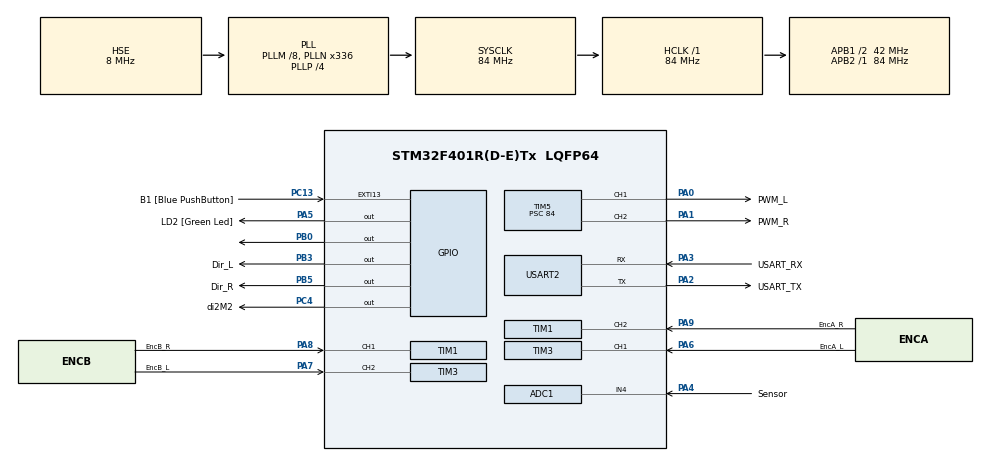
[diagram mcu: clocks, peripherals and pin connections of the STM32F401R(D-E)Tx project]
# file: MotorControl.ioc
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ADC1.Channel-0\#ChannelRegularConversion=ADC_CHANNEL_4
ADC1.ContinuousConvMode=ENABLE
ADC1.NbrOfConversionFlag=1
ADC1.Rank-0\#ChannelRegularConversion=1
ADC1.SamplingTime-0\#ChannelRegularConversion=ADC_SAMPLETIME_480CYCLES
ADC1.master=1
Dma.Request0=USART2_RX
Dma.Request1=USART2_TX
Dma.USART2_RX.0.Direction=DMA_PERIPH_TO_MEMORY
Dma.USART2_RX.0.FIFOMode=DMA_FIFOMODE_DISABLE
Dma.USART2_RX.0.Instance=DMA1_Stream5
Dma.USART2_RX.0.MemDataAlignment=DMA_MDATAALIGN_BYTE
Dma.USART2_RX.0.MemInc=DMA_MINC_ENABLE
Dma.USART2_RX.0.Mode=DMA_CIRCULAR
Dma.USART2_RX.0.PeriphDataAlignment=DMA_PDATAALIGN_BYTE
Dma.USART2_RX.0.PeriphInc=DMA_PINC_DISABLE
Dma.USART2_RX.0.Priority=DMA_PRIORITY_VERY_HIGH
Dma.USART2_TX.1.Direction=DMA_MEMORY_TO_PERIPH
Dma.USART2_TX.1.FIFOMode=DMA_FIFOMODE_DISABLE
Dma.USART2_TX.1.Instance=DMA1_Stream6
Dma.USART2_TX.1.MemDataAlignment=DMA_MDATAALIGN_BYTE
Dma.USART2_TX.1.MemInc=DMA_MINC_ENABLE
Dma.USART2_TX.1.Mode=DMA_NORMAL
Dma.USART2_TX.1.PeriphDataAlignment=DMA_PDATAALIGN_BYTE
Dma.USART2_TX.1.PeriphInc=DMA_PINC_DISABLE
Dma.USART2_TX.1.Priority=DMA_PRIORITY_VERY_HIGH
FREERTOS.Tasks01=defaultTask,24,3000,StartDefaultTask,Default,NULL,Static,defaultTaskBuffer,defaultTaskControlBlock
FREERTOS.configUSE_NEWLIB_REENTRANT=1
Mcu.Family=STM32F4
Mcu.Name=STM32F401R(D-E)Tx
Mcu.Package=LQFP64
NVIC.ADC_IRQn=true\:5\:0\:false\:false\:true\:true\:true\:true\:true
NVIC.DMA1_Stream5_IRQn=true\:5\:0\:false\:false\:true\:true\:false\:true\:true
NVIC.DMA1_Stream6_IRQn=true\:5\:0\:false\:false\:true\:true\:false\:true\:true
NVIC.PriorityGroup=NVIC_PRIORITYGROUP_4
NVIC.TIM1_BRK_TIM9_IRQn=true\:5\:0\:false\:false\:true\:true\:true\:true\:true
NVIC.TIM1_TRG_COM_TIM11_IRQn=true\:5\:0\:false\:false\:true\:true\:true\:true\:true
NVIC.TIM1_UP_TIM10_IRQn=true\:5\:0\:false\:false\:true\:true\:true\:true\:true
NVIC.TIM2_IRQn=true\:15\:0\:false\:false\:true\:false\:true\:true\:true
NVIC.TIM3_IRQn=true\:5\:0\:false\:false\:true\:true\:true\:true\:true
NVIC.TIM4_IRQn=true\:5\:0\:false\:false\:true\:true\:true\:true\:true
NVIC.TimeBase=TIM2_IRQn
NVIC.TimeBaseIP=TIM2
NVIC.USART2_IRQn=true\:5\:0\:false\:false\:true\:true\:true\:true\:true
PA0-WKUP.GPIO_Label=PWM_L
PA0-WKUP.Signal=S_TIM5_CH1
PA1.GPIO_Label=PWM_R
PA1.Signal=S_TIM5_CH2
PA13.GPIO_Label=TMS
PA13.Mode=Serial_Wire
PA13.Signal=SYS_JTMS-SWDIO
PA14.GPIO_Label=TCK
PA14.Mode=Serial_Wire
PA14.Signal=SYS_JTCK-SWCLK
PA2.GPIO_Label=USART_TX
PA2.GPIO_Mode=GPIO_MODE_AF_PP
PA2.GPIO_PuPd=GPIO_NOPULL
PA2.GPIO_Speed=GPIO_SPEED_FREQ_LOW
PA2.Mode=Asynchronous
PA2.Signal=USART2_TX
PA3.GPIO_Label=USART_RX
PA3.GPIO_Mode=GPIO_MODE_AF_PP
PA3.GPIO_PuPd=GPIO_NOPULL
PA3.GPIO_Speed=GPIO_SPEED_FREQ_LOW
PA3.Mode=Asynchronous
PA3.Signal=USART2_RX
PA4.GPIO_Label=Sensor
PA4.Signal=ADCx_IN4
PA5.GPIO_Label=LD2 [Green Led]
PA5.GPIO_PuPd=GPIO_NOPULL
PA5.GPIO_Speed=GPIO_SPEED_FREQ_LOW
PA5.Signal=GPIO_Output
PA6.GPIO_Label=EncA_L
PA6.Signal=S_TIM3_CH1
PA7.GPIO_Label=EncB_L
PA7.Signal=S_TIM3_CH2
PA8.GPIO_Label=EncB_R
PA8.Signal=S_TIM1_CH1
PA9.GPIO_Label=EncA_R
PA9.Signal=S_TIM1_CH2
PB0.Signal=GPIO_Output
PB3.GPIO_Label=Dir_L
PB3.Signal=GPIO_Output
PB5.GPIO_Label=Dir_R
PB5.Signal=GPIO_Output
PC13-ANTI_TAMP.GPIO_Label=B1 [Blue PushButton]
PC13-ANTI_TAMP.GPIO_ModeDefaultEXTI=GPIO_MODE_IT_FALLING
PC13-ANTI_TAMP.GPIO_PuPd=GPIO_NOPULL
PC13-ANTI_TAMP.Signal=GPXTI13
PC14-OSC32_IN.Signal=RCC_OSC32_IN
PC15-OSC32_OUT.Signal=RCC_OSC32_OUT
PC4.GPIO_Label=di2M2
PC4.Signal=GPIO_Output
PH0\ -\ OSC_IN.Mode=HSE-External-Oscillator
PH0\ -\ OSC_IN.Signal=RCC_OSC_IN
PH1\ -\ OSC_OUT.Mode=HSE-External-Oscillator
PH1\ -\ OSC_OUT.Signal=RCC_OSC_OUT
ProjectManager.HeapSize=0x200
ProjectManager.StackSize=0x400
ProjectManager.TargetToolchain=STM32CubeIDE
RCC.48MHZClocksFreq_Value=48000000
RCC.AHBFreq_Value=84000000
RCC.APB1CLKDivider=RCC_HCLK_DIV2
RCC.APB1Freq_Value=42000000
RCC.APB1TimFreq_Value=84000000
RCC.APB2Freq_Value=84000000
RCC.APB2TimFreq_Value=84000000
RCC.CortexFreq_Value=84000000
RCC.HCLKFreq_Value=84000000
RCC.HSE_VALUE=8000000
RCC.HSI_VALUE=16000000
RCC.LSE_VALUE=32768
RCC.PLLM=8
RCC.PLLN=336
RCC.PLLP=RCC_PLLP_DIV4
RCC.PLLQ=7
RCC.PLLSourceVirtual=RCC_PLLSOURCE_HSE
RCC.SYSCLKFreq_VALUE=84000000
RCC.SYSCLKSource=RCC_SYSCLKSOURCE_PLLCLK
RCC.VCOOutputFreq_Value=336000000
SH.ADCx_IN4.0=ADC1_IN4,IN4
SH.S_TIM1_CH1.0=TIM1_CH1,Encoder_Interface
SH.S_TIM1_CH2.0=TIM1_CH2,Encoder_Interface
SH.S_TIM3_CH1.0=TIM3_CH1,Encoder_Interface
SH.S_TIM3_CH2.0=TIM3_CH2,Encoder_Interface
SH.S_TIM5_CH1.0=TIM5_CH1,PWM Generation1 CH1
SH.S_TIM5_CH2.0=TIM5_CH2,PWM Generation2 CH2
TIM1.AutoReloadPreload=TIM_AUTORELOAD_PRELOAD_ENABLE
TIM1.EncoderMode=TIM_ENCODERMODE_TI12
TIM1.IC1Filter=10
TIM1.IC2Filter=10
TIM3.AutoReloadPreload=TIM_AUTORELOAD_PRELOAD_ENABLE
TIM3.EncoderMode=TIM_ENCODERMODE_TI12
TIM3.IC1Filter=10
TIM3.IC2Filter=10
TIM4.Period=100
TIM4.Prescaler=84
TIM5.AutoReloadPreload=TIM_AUTORELOAD_PRELOAD_ENABLE
TIM5.Channel-PWM\ Generation1\ CH1=TIM_CHANNEL_1
TIM5.Channel-PWM\ Generation2\ CH2=TIM_CHANNEL_2
TIM5.Period=100
TIM5.Prescaler=84
USART2.VirtualMode=VM_ASYNC
VP_FREERTOS_VS_CMSIS_V2.Mode=CMSIS_V2
VP_SYS_VS_tim2.Mode=TIM2
VP_TIM4_VS_ClockSourceINT.Mode=Internal
board=NUCLEO-F401RE

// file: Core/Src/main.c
/* USER CODE BEGIN Header */
/**
 ******************************************************************************
 * @file           : main.c
 * @brief          : Main program body
 ******************************************************************************
 * @attention
 *
 * Copyright (c) 2024 STMicroelectronics.
 * All rights reserved.
 *
 * This software is licensed under terms that can be found in the LICENSE file
 * in the root directory of this software component.
 * If no LICENSE file comes with this software, it is provided AS-IS.
 *
 ******************************************************************************
 */
/* USER CODE END Header */

/* USER CODE BEGIN Includes */
#include <motorControl.h>
#include "flowControl.h"
#include "main.h"
#include "MPC.h"
#include <string.h>
#include "stdlib.h"
#include "cmsis_os.h"
#include <rcl/rcl.h>
#include <rcl/error_handling.h>
#include <rclc/rclc.h>
#include <rclc/executor.h>
#include <uxr/client/transport.h>
#include <rmw_microxrcedds_c/config.h>
#include <rmw_microros/rmw_microros.h>
#include <std_msgs/msg/int32.h>
#include <std_msgs/msg/float32.h>
#include <std_msgs/msg/float64.h>
#include <std_msgs/msg/string.h>

#include <frame_data/msg/frame_data.h>

/* USER CODE END Includes */

typedef StaticTask_t osStaticThreadDef_t;

/* USER CODE BEGIN PD */
#define Mode_Position 1
#define Mode_Velocity 2
#define Mode_SensorPosition 3
#define Mode_SensorVelocity 4
#define Mode_MPC 5
#define Mode_Stop 6
#define Mode_Verbose 7
/* USER CODE END PD */

ADC_HandleTypeDef hadc1;

TIM_HandleTypeDef htim1;
TIM_HandleTypeDef htim3;
TIM_HandleTypeDef htim4;
TIM_HandleTypeDef htim5;

UART_HandleTypeDef huart2;
DMA_HandleTypeDef hdma_usart2_rx;
DMA_HandleTypeDef hdma_usart2_tx;

/* Definitions for defaultTask */
osThreadId_t defaultTaskHandle;
uint32_t defaultTaskBuffer[ 3000 ];
osStaticThreadDef_t defaultTaskControlBlock;
const osThreadAttr_t defaultTask_attributes = {
		.name = "defaultTask",
		.cb_mem = &defaultTaskControlBlock,
		.cb_size = sizeof(defaultTaskControlBlock),
		.stack_mem = &defaultTaskBuffer[0],
		.stack_size = sizeof(defaultTaskBuffer),
		.priority = (osPriority_t) osPriorityNormal,
};
/* USER CODE BEGIN PV */
int16_t pos_R=0;int16_t pos_L=0;
float pos_Rp=0;float pos_Lp=0;
float pos_Rc=0;float pos_Lc=0;
float vel_R=0;float vel_L=0;
uint16_t resolucion=3600*2;
uint8_t ready;
char res_string[50];
uint8_t data[9]="";
uint8_t Pdata[200]="aaaaaaaa";
uint8_t newdata=1;
struct mode mode;
struct controlSignals controlS;
struct controlData SpeedControlMotor1;
struct controlData SpeedControlMotor2;
struct controlData PosControlMotor1;
struct controlData PosControlMotor2;

struct MPCData myControl;

//////// Declaración de variables del sensor óptico //////////
uint16_t  	valor_DR=0;
float 		dist = 0.0;
float dist_act=0.0;
float 		alfa = 0.2; // Filtro EMA
#define  d1 4
#define  d2 50
#define  v1 2.2
#define  v2 0.55
#define  escala 8.059e-4 //3.3/1023
#define  dist_min 11.32
#define  dist_max 22.5
#define  vel_min 0.0
#define  vel_max 100.0
float pos_actual = 0.0;
float contador=0.0;
/* USER CODE END PV */

void SystemClock_Config(void);
static void MX_GPIO_Init(void);
static void MX_DMA_Init(void);
static void MX_USART2_UART_Init(void);
static void MX_TIM1_Init(void);
static void MX_TIM3_Init(void);
static void MX_TIM5_Init(void);
static void MX_ADC1_Init(void);
static void MX_TIM4_Init(void);
void StartDefaultTask(void *argument);

/* USER CODE BEGIN 0 */
void HAL_TIM_PeriodElapsedCallback(TIM_HandleTypeDef *htim)
{
	if (htim->Instance == TIM4)
	{ // REVISAR CLOCKS CON PEDRO
		pos_R=__HAL_TIM_GET_COUNTER(&htim1);
		pos_L=__HAL_TIM_GET_COUNTER(&htim3);

		ready=1; //Ocurre cada 10ms
		pos_Rp=pos_Rc;
		pos_Lp=pos_Lc;
		pos_Rc=pos_R*360.0/resolucion+pos_Rc;
		pos_Lc=pos_L*360.0/resolucion+pos_Lc;

		vel_R=fabs(pos_Rc-pos_Rp)/(360.0)*100.0*60.0;
		vel_L=fabs(pos_Lc-pos_Lp)/(360.0)*100.0*60.0;

		TIM3->CNT=0;
		TIM1->CNT=0;
		contador = contador+1.0;
	}
	if (htim->Instance == TIM2) {
		HAL_IncTick();
	}

	//HAL_GPIO_TogglePin(GPIOA, GPIO_PIN_5);
}
void HAL_UART_RxCpltCallback(UART_HandleTypeDef *huart)
{
	printData(data,&mode, &controlS);
	HAL_UART_Transmit_DMA(&huart2, mode.res_string, sizeof(res_string));
	newdata=1;

}

void HAL_ADC_ConvCpltCallback(ADC_HandleTypeDef* hadc)
{
	//__NOP();
	HAL_ADC_Start_IT(&hadc1);
}

//Variable global y callback suscriber
int32_t valueFramePos = 0;
int32_t valueMax2 = 0;
const char *r;
char valueControl [15];
const std_msgs__msg__String *msg4;

void subscription_callback_PosRef(const void * msgin)
{
	// Cast received message to used type
	// const std_msgs__msg__Int32 * msg3 = (const std_msgs__msg__Int32 *)msgin;
	const std_msgs__msg__Float32 * msg3 = (const std_msgs__msg__Float32 *)msgin;
	// Process message
	//pos_Rc=40;
	valueFramePos = msg3->data;

	// valueMax=valueMax+100;
	return;
}
void subscription_callback_SpeedRef(const void * msgin)
{
	// Cast received message to used type
	const std_msgs__msg__Float32 * msg5 = (const std_msgs__msg__Float32 *)msgin;
	// Process message
	//vel_R=30;
	valueMax2 = msg5->data;
	//valueMax2=valueMax2+100-1;
	return;
}
void subscription_callback_ControlMode(const void * msgin)
{
	//	msg4 = (const std_msgs__msg__String *)msgin;
	//get_message_typesupport_handle(msg4, r);
	//	strcpy(valueControl,msg4->data.data);
	// Se puede probar también memcpy()
	// según chatgpt: const std_msgs__msg__String * received_msg = (const std_msgs__msg__String *)msgin;

	return;
}

/* USER CODE END 0 */

int main(void)
{

	/* USER CODE BEGIN 1 */
	float dy=(v2-v1); //0.55-2.2
	float dx=(d2-d1); //50-4
	float m =dy/dx;// -(dist_max-dist_min)/(raw_min-raw_max);
	float n = 2-m*10;
	float dist_dif = dist_max-dist_min;
	/* USER CODE END 1 */

	/* MCU Configuration--------------------------------------------------------*/

	/* Reset of all peripherals, Initializes the Flash interface and the Systick. */
	HAL_Init();

	/* Configure the system clock */
	SystemClock_Config();

	/* Initialize all configured peripherals */
	MX_GPIO_Init();
	MX_DMA_Init();
	MX_USART2_UART_Init();
	MX_TIM1_Init();
	MX_TIM3_Init();
	MX_TIM5_Init();
	MX_ADC1_Init();
	MX_TIM4_Init();
	/* USER CODE BEGIN 2 */
	HAL_TIM_Base_Start_IT(&htim4); // REVISAR
	HAL_TIM_PWM_Init(&htim5);
	HAL_UART_Init(&huart2);
	HAL_TIM_PWM_Start(&htim5, TIM_CHANNEL_1);
	HAL_TIM_PWM_Start(&htim5, TIM_CHANNEL_2);
	HAL_TIM_Encoder_Start(&htim1, TIM_CHANNEL_ALL);
	HAL_TIM_Encoder_Start(&htim3, TIM_CHANNEL_ALL);
	HAL_ADC_Start_IT(&hadc1);

	initMainStructures(&mode, &controlS);
	initControlStructure(0.8, 0.85,&SpeedControlMotor1);
	initControlStructure(0.8, 0.85,&SpeedControlMotor2);

	initControlStructure(17, 0.822,&PosControlMotor1);
	initControlStructure(17, 0.822,&PosControlMotor2);

	/////////////  NUEVO MPC  ////////////////////7

	initMPC(&myControl);

	//////////////////////////////////////////////777

	/* USER CODE END 2 */

	/* Init scheduler */
	osKernelInitialize();

	/* Create the thread(s) */
	/* creation of defaultTask */
	defaultTaskHandle = osThreadNew(StartDefaultTask, NULL, &defaultTask_attributes);

	/* Start scheduler */
	osKernelStart();

	/* We should never get here as control is now taken by the scheduler */

	/* Infinite loop */
	/* USER CODE BEGIN WHILE */

	/* USER CODE END 3 */
}

void SystemClock_Config(void)
{
	RCC_OscInitTypeDef RCC_OscInitStruct = {0};
	RCC_ClkInitTypeDef RCC_ClkInitStruct = {0};

	/** Configure the main internal regulator output voltage
	 */
	__HAL_RCC_PWR_CLK_ENABLE();
	__HAL_PWR_VOLTAGESCALING_CONFIG(PWR_REGULATOR_VOLTAGE_SCALE2);

	/** Initializes the RCC Oscillators according to the specified parameters
	 * in the RCC_OscInitTypeDef structure.
	 */
	RCC_OscInitStruct.OscillatorType = RCC_OSCILLATORTYPE_HSE;
	RCC_OscInitStruct.HSEState = RCC_HSE_ON;
	RCC_OscInitStruct.PLL.PLLState = RCC_PLL_ON;
	RCC_OscInitStruct.PLL.PLLSource = RCC_PLLSOURCE_HSE;
	RCC_OscInitStruct.PLL.PLLM = 8;
	RCC_OscInitStruct.PLL.PLLN = 336;
	RCC_OscInitStruct.PLL.PLLP = RCC_PLLP_DIV4;
	RCC_OscInitStruct.PLL.PLLQ = 7;
	if (HAL_RCC_OscConfig(&RCC_OscInitStruct) != HAL_OK)
	{
		Error_Handler();
	}

	/** Initializes the CPU, AHB and APB buses clocks
	 */
	RCC_ClkInitStruct.ClockType = RCC_CLOCKTYPE_HCLK|RCC_CLOCKTYPE_SYSCLK
			|RCC_CLOCKTYPE_PCLK1|RCC_CLOCKTYPE_PCLK2;
	RCC_ClkInitStruct.SYSCLKSource = RCC_SYSCLKSOURCE_PLLCLK;
	RCC_ClkInitStruct.AHBCLKDivider = RCC_SYSCLK_DIV1;
	RCC_ClkInitStruct.APB1CLKDivider = RCC_HCLK_DIV2;
	RCC_ClkInitStruct.APB2CLKDivider = RCC_HCLK_DIV1;

	if (HAL_RCC_ClockConfig(&RCC_ClkInitStruct, FLASH_LATENCY_2) != HAL_OK)
	{
		Error_Handler();
	}
}

static void MX_ADC1_Init(void)
{

	ADC_ChannelConfTypeDef sConfig = {0};

	/** Configure the global features of the ADC (Clock, Resolution, Data Alignment and number of conversion)
	 */
	hadc1.Instance = ADC1;
	hadc1.Init.ClockPrescaler = ADC_CLOCK_SYNC_PCLK_DIV4;
	hadc1.Init.Resolution = ADC_RESOLUTION_12B;
	hadc1.Init.ScanConvMode = DISABLE;
	hadc1.Init.ContinuousConvMode = ENABLE;
	hadc1.Init.DiscontinuousConvMode = DISABLE;
	hadc1.Init.ExternalTrigConvEdge = ADC_EXTERNALTRIGCONVEDGE_NONE;
	hadc1.Init.ExternalTrigConv = ADC_SOFTWARE_START;
	hadc1.Init.DataAlign = ADC_DATAALIGN_RIGHT;
	hadc1.Init.NbrOfConversion = 1;
	hadc1.Init.DMAContinuousRequests = DISABLE;
	hadc1.Init.EOCSelection = ADC_EOC_SINGLE_CONV;
	if (HAL_ADC_Init(&hadc1) != HAL_OK)
	{
		Error_Handler();
	}

	/** Configure for the selected ADC regular channel its corresponding rank in the sequencer and its sample time.
	 */
	sConfig.Channel = ADC_CHANNEL_4;
	sConfig.Rank = 1;
	sConfig.SamplingTime = ADC_SAMPLETIME_480CYCLES;
	if (HAL_ADC_ConfigChannel(&hadc1, &sConfig) != HAL_OK)
	{
		Error_Handler();
	}

}

static void MX_TIM1_Init(void)
{

	TIM_Encoder_InitTypeDef sConfig = {0};
	TIM_MasterConfigTypeDef sMasterConfig = {0};

	htim1.Instance = TIM1;
	htim1.Init.Prescaler = 0;
	htim1.Init.CounterMode = TIM_COUNTERMODE_UP;
	htim1.Init.Period = 65535;
	htim1.Init.ClockDivision = TIM_CLOCKDIVISION_DIV1;
	htim1.Init.RepetitionCounter = 0;
	htim1.Init.AutoReloadPreload = TIM_AUTORELOAD_PRELOAD_ENABLE;
	sConfig.EncoderMode = TIM_ENCODERMODE_TI12;
	sConfig.IC1Polarity = TIM_ICPOLARITY_RISING;
	sConfig.IC1Selection = TIM_ICSELECTION_DIRECTTI;
	sConfig.IC1Prescaler = TIM_ICPSC_DIV1;
	sConfig.IC1Filter = 10;
	sConfig.IC2Polarity = TIM_ICPOLARITY_RISING;
	sConfig.IC2Selection = TIM_ICSELECTION_DIRECTTI;
	sConfig.IC2Prescaler = TIM_ICPSC_DIV1;
	sConfig.IC2Filter = 10;
	if (HAL_TIM_Encoder_Init(&htim1, &sConfig) != HAL_OK)
	{
		Error_Handler();
	}
	sMasterConfig.MasterOutputTrigger = TIM_TRGO_RESET;
	sMasterConfig.MasterSlaveMode = TIM_MASTERSLAVEMODE_DISABLE;
	if (HAL_TIMEx_MasterConfigSynchronization(&htim1, &sMasterConfig) != HAL_OK)
	{
		Error_Handler();
	}

}

static void MX_TIM3_Init(void)
{

	TIM_Encoder_InitTypeDef sConfig = {0};
	TIM_MasterConfigTypeDef sMasterConfig = {0};

	htim3.Instance = TIM3;
	htim3.Init.Prescaler = 0;
	htim3.Init.CounterMode = TIM_COUNTERMODE_UP;
	htim3.Init.Period = 65535;
	htim3.Init.ClockDivision = TIM_CLOCKDIVISION_DIV1;
	htim3.Init.AutoReloadPreload = TIM_AUTORELOAD_PRELOAD_ENABLE;
	sConfig.EncoderMode = TIM_ENCODERMODE_TI12;
	sConfig.IC1Polarity = TIM_ICPOLARITY_RISING;
	sConfig.IC1Selection = TIM_ICSELECTION_DIRECTTI;
	sConfig.IC1Prescaler = TIM_ICPSC_DIV1;
	sConfig.IC1Filter = 10;
	sConfig.IC2Polarity = TIM_ICPOLARITY_RISING;
	sConfig.IC2Selection = TIM_ICSELECTION_DIRECTTI;
	sConfig.IC2Prescaler = TIM_ICPSC_DIV1;
	sConfig.IC2Filter = 10;
	if (HAL_TIM_Encoder_Init(&htim3, &sConfig) != HAL_OK)
	{
		Error_Handler();
	}
	sMasterConfig.MasterOutputTrigger = TIM_TRGO_RESET;
	sMasterConfig.MasterSlaveMode = TIM_MASTERSLAVEMODE_DISABLE;
	if (HAL_TIMEx_MasterConfigSynchronization(&htim3, &sMasterConfig) != HAL_OK)
	{
		Error_Handler();
	}

}

static void MX_TIM4_Init(void)
{

	TIM_ClockConfigTypeDef sClockSourceConfig = {0};
	TIM_MasterConfigTypeDef sMasterConfig = {0};

	htim4.Instance = TIM4;
	htim4.Init.Prescaler = 84;
	htim4.Init.CounterMode = TIM_COUNTERMODE_UP;
	htim4.Init.Period = 10000;
	htim4.Init.ClockDivision = TIM_CLOCKDIVISION_DIV1;
	htim4.Init.AutoReloadPreload = TIM_AUTORELOAD_PRELOAD_DISABLE;
	if (HAL_TIM_Base_Init(&htim4) != HAL_OK)
	{
		Error_Handler();
	}
	sClockSourceConfig.ClockSource = TIM_CLOCKSOURCE_INTERNAL;
	if (HAL_TIM_ConfigClockSource(&htim4, &sClockSourceConfig) != HAL_OK)
	{
		Error_Handler();
	}
	sMasterConfig.MasterOutputTrigger = TIM_TRGO_RESET;
	sMasterConfig.MasterSlaveMode = TIM_MASTERSLAVEMODE_DISABLE;
	if (HAL_TIMEx_MasterConfigSynchronization(&htim4, &sMasterConfig) != HAL_OK)
	{
		Error_Handler();
	}

}

static void MX_TIM5_Init(void)
{

	TIM_MasterConfigTypeDef sMasterConfig = {0};
	TIM_OC_InitTypeDef sConfigOC = {0};

	htim5.Instance = TIM5;
	htim5.Init.Prescaler = 84;
	htim5.Init.CounterMode = TIM_COUNTERMODE_UP;
	htim5.Init.Period = 100;
	htim5.Init.ClockDivision = TIM_CLOCKDIVISION_DIV1;
	htim5.Init.AutoReloadPreload = TIM_AUTORELOAD_PRELOAD_ENABLE;
	if (HAL_TIM_PWM_Init(&htim5) != HAL_OK)
	{
		Error_Handler();
	}
	sMasterConfig.MasterOutputTrigger = TIM_TRGO_RESET;
	sMasterConfig.MasterSlaveMode = TIM_MASTERSLAVEMODE_DISABLE;
	if (HAL_TIMEx_MasterConfigSynchronization(&htim5, &sMasterConfig) != HAL_OK)
	{
		Error_Handler();
	}
	sConfigOC.OCMode = TIM_OCMODE_PWM1;
	sConfigOC.Pulse = 0;
	sConfigOC.OCPolarity = TIM_OCPOLARITY_HIGH;
	sConfigOC.OCFastMode = TIM_OCFAST_DISABLE;
	if (HAL_TIM_PWM_ConfigChannel(&htim5, &sConfigOC, TIM_CHANNEL_1) != HAL_OK)
	{
		Error_Handler();
	}
	if (HAL_TIM_PWM_ConfigChannel(&htim5, &sConfigOC, TIM_CHANNEL_2) != HAL_OK)
	{
		Error_Handler();
	}
	HAL_TIM_MspPostInit(&htim5);

}

static void MX_USART2_UART_Init(void)
{

	huart2.Instance = USART2;
	huart2.Init.BaudRate = 115200;
	huart2.Init.WordLength = UART_WORDLENGTH_8B;
	huart2.Init.StopBits = UART_STOPBITS_1;
	huart2.Init.Parity = UART_PARITY_NONE;
	huart2.Init.Mode = UART_MODE_TX_RX;
	huart2.Init.HwFlowCtl = UART_HWCONTROL_NONE;
	huart2.Init.OverSampling = UART_OVERSAMPLING_16;
	if (HAL_UART_Init(&huart2) != HAL_OK)
	{
		Error_Handler();
	}

}

static void MX_DMA_Init(void)
{

	/* DMA controller clock enable */
	__HAL_RCC_DMA1_CLK_ENABLE();

	/* DMA interrupt init */
	/* DMA1_Stream5_IRQn interrupt configuration */
	HAL_NVIC_SetPriority(DMA1_Stream5_IRQn, 5, 0);
	HAL_NVIC_EnableIRQ(DMA1_Stream5_IRQn);
	/* DMA1_Stream6_IRQn interrupt configuration */
	HAL_NVIC_SetPriority(DMA1_Stream6_IRQn, 5, 0);
	HAL_NVIC_EnableIRQ(DMA1_Stream6_IRQn);

}

static void MX_GPIO_Init(void)
{
	GPIO_InitTypeDef GPIO_InitStruct = {0};

	/* GPIO Ports Clock Enable */
	__HAL_RCC_GPIOC_CLK_ENABLE();
	__HAL_RCC_GPIOH_CLK_ENABLE();
	__HAL_RCC_GPIOA_CLK_ENABLE();
	__HAL_RCC_GPIOB_CLK_ENABLE();

	/*Configure GPIO pin Output Level */
	HAL_GPIO_WritePin(LD2_GPIO_Port, LD2_Pin, GPIO_PIN_RESET);

	/*Configure GPIO pin Output Level */
	HAL_GPIO_WritePin(di2M2_GPIO_Port, di2M2_Pin, GPIO_PIN_RESET);

	/*Configure GPIO pin Output Level */
	HAL_GPIO_WritePin(GPIOB, GPIO_PIN_0|Dir_L_Pin|Dir_R_Pin, GPIO_PIN_RESET);

	/*Configure GPIO pin : B1_Pin */
	GPIO_InitStruct.Pin = B1_Pin;
	GPIO_InitStruct.Mode = GPIO_MODE_IT_FALLING;
	GPIO_InitStruct.Pull = GPIO_NOPULL;
	HAL_GPIO_Init(B1_GPIO_Port, &GPIO_InitStruct);

	/*Configure GPIO pin : LD2_Pin */
	GPIO_InitStruct.Pin = LD2_Pin;
	GPIO_InitStruct.Mode = GPIO_MODE_OUTPUT_PP;
	GPIO_InitStruct.Pull = GPIO_NOPULL;
	GPIO_InitStruct.Speed = GPIO_SPEED_FREQ_LOW;
	HAL_GPIO_Init(LD2_GPIO_Port, &GPIO_InitStruct);

	/*Configure GPIO pin : di2M2_Pin */
	GPIO_InitStruct.Pin = di2M2_Pin;
	GPIO_InitStruct.Mode = GPIO_MODE_OUTPUT_PP;
	GPIO_InitStruct.Pull = GPIO_NOPULL;
	GPIO_InitStruct.Speed = GPIO_SPEED_FREQ_LOW;
	HAL_GPIO_Init(di2M2_GPIO_Port, &GPIO_InitStruct);

	/*Configure GPIO pins : PB0 Dir_L_Pin Dir_R_Pin */
	GPIO_InitStruct.Pin = GPIO_PIN_0|Dir_L_Pin|Dir_R_Pin;
	GPIO_InitStruct.Mode = GPIO_MODE_OUTPUT_PP;
	GPIO_InitStruct.Pull = GPIO_NOPULL;
	GPIO_InitStruct.Speed = GPIO_SPEED_FREQ_LOW;
	HAL_GPIO_Init(GPIOB, &GPIO_InitStruct);

}

/* USER CODE BEGIN 4 */
/* Funciones declaradas en microros_utils para permitir el transporte con el hardware*/
bool cubemx_transport_open(struct uxrCustomTransport * transport);
bool cubemx_transport_close(struct uxrCustomTransport * transport);
size_t cubemx_transport_write(struct uxrCustomTransport* transport, const uint8_t * buf, size_t len, uint8_t * err);
size_t cubemx_transport_read(struct uxrCustomTransport* transport, uint8_t* buf, size_t len, int timeout, uint8_t* err);

void * microros_allocate(size_t size, void * state);
void microros_deallocate(void * pointer, void * state);
void * microros_reallocate(void * pointer, size_t size, void * state);
void * microros_zero_allocate(size_t number_of_elements, size_t size_of_element, void * state);
/* USER CODE END 4 */

std_msgs__msg__Float32 msg_PosRef;
std_msgs__msg__Float32 msg_SpeedRef;
std_msgs__msg__Float32 msg_ControlMode;

void StartDefaultTask(void *argument)
{
	/* USER CODE BEGIN 5 */

	// micro-ROS configuration
	/* Se llama a las funciones declaradas anteriormente para la comunicación con el HW*/
	rmw_uros_set_custom_transport(
			true,
			(void *) &huart2,
			cubemx_transport_open,
			cubemx_transport_close,
			cubemx_transport_write,
			cubemx_transport_read);

	rcl_allocator_t freeRTOS_allocator = rcutils_get_zero_initialized_allocator();
	freeRTOS_allocator.allocate = microros_allocate;
	freeRTOS_allocator.deallocate = microros_deallocate;
	freeRTOS_allocator.reallocate = microros_reallocate;
	freeRTOS_allocator.zero_allocate =  microros_zero_allocate;

	if (!rcutils_set_default_allocator(&freeRTOS_allocator)) {
		printf("Error on default allocators (line %d)\n", __LINE__);
	}

	// micro-ROS app
	//VARIABLES
	rcl_publisher_t publisher;
	rcl_publisher_t publisher_framePos;
	rcl_publisher_t publisher_frameVel;
	rcl_publisher_t publisher_framePosRef;
	rcl_publisher_t publisher_frameVelRef;
	rcl_publisher_t publisher_frameSensor;
	rcl_publisher_t publisher_contador;

	rcl_publisher_t publisher_intento;
	//rcl_publisher_t publisher_frameMode;
	std_msgs__msg__Float32 msg_framePos;
	std_msgs__msg__Float32 msg_frameVel;
	std_msgs__msg__Float32 msg_framePosRef;
	std_msgs__msg__Float32 msg_frameVelRef;
	std_msgs__msg__Float32 msg_frameSensor;
	std_msgs__msg__Float32 msg_contador;
	//std_msgs__msg__String msg_frameMode;

	frame_data__msg__FrameData intento;

	rcl_node_t node;
	rclc_support_t support;
	rcl_allocator_t allocator = rcl_get_default_allocator();

	// Instancias de inicialización, creación de nodo, publisher, etc.
	//create init_options
	rclc_support_init(&support, 0, NULL, &allocator);

	// create node
	rclc_node_init_default(&node, "controlST", "", &support);

	// create publishers
	rclc_publisher_init_default(
			&publisher_framePos,
			&node,
			ROSIDL_GET_MSG_TYPE_SUPPORT(std_msgs, msg, Float32),
			"frame_position");
	rclc_publisher_init_default(
			&publisher_frameVel,
			&node,
			ROSIDL_GET_MSG_TYPE_SUPPORT(std_msgs, msg, Float32),
			"frame_speed");
	rclc_publisher_init_default(
			&publisher_framePosRef,
			&node,
			ROSIDL_GET_MSG_TYPE_SUPPORT(std_msgs, msg, Float32),
			"frame_positionRef");
	rclc_publisher_init_default(
			&publisher_frameVelRef,
			&node,
			ROSIDL_GET_MSG_TYPE_SUPPORT(std_msgs, msg, Float32),
			"frame_speedRef");
	rclc_publisher_init_default(
			&publisher_frameSensor,
			&node,
			ROSIDL_GET_MSG_TYPE_SUPPORT(std_msgs, msg, Float32),
			"frame_sensor_distance");
	/*rclc_publisher_init_default(
			&publisher_frameMode,
			&node,
			ROSIDL_GET_MSG_TYPE_SUPPORT(std_msgs, msg, String),
			"frame_mode");*/
	rclc_publisher_init_default(
			&publisher_contador,
			&node,
			ROSIDL_GET_MSG_TYPE_SUPPORT(std_msgs, msg, Float32),
			"frame_contador");

	/*rclc_publisher_init_default(
				&publisher_intento,
				&node,
				ROSIDL_GET_MSG_TYPE_SUPPORT(frame_data, msg, FrameData),
				"intento");*/

	// create suscribers
	rcl_subscription_t subscriber;
	rcl_subscription_t subscriber_PosRef;
	rcl_subscription_t subscriber_SpeedRef;
	rcl_subscription_t subscriber_ControlMode;

	const char * topic_name  = "PositionReference"; //COMx
	const char * topic_name2 = "SpeedReference"; //"COMx"; //"SpeedReference";
	const char * topic_name5 = "ControlMode";

	//rclc_subscription_init_default(&subscriber, &node, type_support, topic_name);
	rclc_subscription_init_best_effort(&subscriber_SpeedRef, &node, ROSIDL_GET_MSG_TYPE_SUPPORT(std_msgs, msg, Float32), topic_name2);
	rclc_subscription_init_best_effort(&subscriber_ControlMode, &node, ROSIDL_GET_MSG_TYPE_SUPPORT(std_msgs, msg, Float32), topic_name5);
	rclc_subscription_init_best_effort(&subscriber_PosRef, &node, ROSIDL_GET_MSG_TYPE_SUPPORT(std_msgs, msg, Float32), topic_name);
	//  rclc_subscription_init_default(&subscriber1,&node,ROSIDL_GET_MSG_TYPE_SUPPORT(std_msgs, msg, Int32),"nombre_del_primer_topic",&topic1_callback,ON_NEW_DATA);

	std_msgs__msg__String__init(&msg_ControlMode);
	std_msgs__msg__Float32__init(&msg_PosRef);
	std_msgs__msg__Float32__init(&msg_SpeedRef);

	// create timer
	rcl_timer_t timer;
	const unsigned int timer_rate = 100;  // 1 Hz (arbitrary value)

	// create executor
	const size_t num_handles = 3;  // number of subscribers & timers. ¿¿Serían 5??
	rclc_executor_t executor=rclc_executor_get_zero_initialized_executor();
	rclc_executor_init(&executor, &support.context, num_handles, &allocator);
	// Para agregarle al ejecutor el suscriptor
	// rclc_executor_add_subscription(&executor, &subscriber1, &refPos, subscription_callback, ON_NEW_DATA); //refPos antes era msg_PosRef
	rclc_executor_add_subscription(&executor, &subscriber_PosRef, &msg_PosRef, subscription_callback_PosRef, ON_NEW_DATA);
	rclc_executor_add_subscription(&executor, &subscriber_SpeedRef, &msg_SpeedRef, subscription_callback_SpeedRef, ON_NEW_DATA);
	rclc_executor_add_subscription(&executor, &subscriber_ControlMode, &msg_ControlMode, subscription_callback_ControlMode, ON_NEW_DATA);

	float dy=(v2-v1); //0.55-2.2
	float dx=(d2-d1); //50-4
	float m =dy/dx;// -(dist_max-dist_min)/(raw_min-raw_max);
	float n = 2-m*10;
	float dist_dif = dist_max-dist_min;

	//msg_ControlMode.data=3;
	for(;;)
	{
		if(ready){
			ready=0;
			valor_DR=ADC1->DR;
			dist_act = (valor_DR*escala-n)/m;
			dist = (alfa*dist_act) + ((1-alfa)*dist);
			if (dist>=dist_max) dist=dist_max;
			if (dist<=dist_min) dist=dist_min-0.5;

			if(msg_ControlMode.data==1){
				controlS.positionReference = msg_PosRef.data;
				PosControlMotor1.error=controlS.positionReference-pos_Rc;
				TIM5->CCR1=applyPosControl(&PosControlMotor1);
				TIM5->CCR2=applyPosControl(&PosControlMotor1);
				if (PosControlMotor1.rotDirection){
					HAL_GPIO_WritePin(GPIOB, GPIO_PIN_5, SET);
					HAL_GPIO_WritePin(GPIOB, GPIO_PIN_3, RESET);
				}
				else{
					HAL_GPIO_WritePin(GPIOB, GPIO_PIN_5, RESET);
					HAL_GPIO_WritePin(GPIOB, GPIO_PIN_3, SET);
				}
			}
			else if(msg_ControlMode.data==2){
				controlS.speedReference = msg_SpeedRef.data;//*150.0;
				SpeedControlMotor1.error=controlS.speedReference-vel_R;
				TIM5->CCR1=applySpeedControl(&SpeedControlMotor1);
				SpeedControlMotor1.speedReference=controlS.speedReference;
				TIM5->CCR2=applySpeedControl(&SpeedControlMotor1);
				if (controlS.direction){
					HAL_GPIO_WritePin(GPIOB, GPIO_PIN_5, RESET);
					HAL_GPIO_WritePin(GPIOB, GPIO_PIN_3, SET);
				}
				else{
					HAL_GPIO_WritePin(GPIOB, GPIO_PIN_5, SET);
					HAL_GPIO_WritePin(GPIOB, GPIO_PIN_3, RESET);
				}
			}

			else if(msg_ControlMode.data==3){
				pos_Rp=0; pos_Lp=0; pos_Rc=0; pos_Lc=0;
				if (dist<=dist_min){
					controlS.positionReference=0; //Quedarse en la posición actual
				}
				else if(dist>dist_min && dist<dist_max){
					controlS.positionReference=((96/dist_dif)*dist)-(96*dist_min/dist_dif);
				}
				else if(dist>=dist_max){
					controlS.positionReference=96; // 11 cms corresponden a 96 grados de giro de la rueda
				}
				PosControlMotor1.error=controlS.positionReference-pos_Rc;
				TIM5->CCR1=applyPosControl(&PosControlMotor1);
				TIM5->CCR2=applyPosControl(&PosControlMotor1);
				if (PosControlMotor1.rotDirection){
					HAL_GPIO_WritePin(GPIOB, GPIO_PIN_5, SET);
					HAL_GPIO_WritePin(GPIOB, GPIO_PIN_3, RESET);
				}
				else{
					HAL_GPIO_WritePin(GPIOB, GPIO_PIN_5, RESET);
					HAL_GPIO_WritePin(GPIOB, GPIO_PIN_3, SET);
				}
			}
			else if(msg_ControlMode.data==4){
				if (dist<=dist_min){
					controlS.speedReference=vel_min;
				}
				else if(dist>dist_min && dist<dist_max){
					//controlS.speedReference=((50.0/23.0)*dist)-(550.0/23.0);
					controlS.speedReference=((vel_max/dist_dif)*dist)-(vel_max*dist_min/dist_dif);
				}
				else if(dist>=dist_max){
					controlS.speedReference=vel_max;
				}
				// controlS.speedReference = msg_SpeedRef.data;
				SpeedControlMotor1.error=controlS.speedReference-vel_R;
				TIM5->CCR1=applySpeedControl(&SpeedControlMotor1);
				SpeedControlMotor1.speedReference=controlS.speedReference;
				TIM5->CCR2=applySpeedControl(&SpeedControlMotor1);
				if (controlS.direction){
					HAL_GPIO_WritePin(GPIOB, GPIO_PIN_5, RESET);
					HAL_GPIO_WritePin(GPIOB, GPIO_PIN_3, SET);
				}
				else{
					HAL_GPIO_WritePin(GPIOB, GPIO_PIN_5, SET);
					HAL_GPIO_WritePin(GPIOB, GPIO_PIN_3, RESET);
				}
			}
			else if(msg_ControlMode.data==5){
				controlS.speedReference = msg_SpeedRef.data*150.0;
				TIM5->CCR1=runController(vel_R,controlS.speedReference,&myControl); //runController(vel_R,controlS.speedReference,myControl);
				TIM5->CCR2=TIM5->CCR1;

				if (controlS.direction){
					HAL_GPIO_WritePin(GPIOB, GPIO_PIN_5, RESET);
					HAL_GPIO_WritePin(GPIOB, GPIO_PIN_3, SET);
				}
				else{
					HAL_GPIO_WritePin(GPIOB, GPIO_PIN_5, SET);
					HAL_GPIO_WritePin(GPIOB, GPIO_PIN_3, RESET);
				}
			}
			else if(msg_ControlMode.data==6){
				TIM5->CCR1=0;
				TIM5->CCR2=0;
			}
		}
		msg_framePos.data=pos_Rc;
		msg_frameVel.data=vel_R;
		msg_frameSensor.data=dist;
		msg_contador.data=contador;
		msg_framePosRef.data=controlS.positionReference;
		msg_frameVelRef.data=controlS.speedReference;

		//rosidl_runtime_c__String__assign(&msg_frameMode.data, valueControl);
		//strcpy(&msg_frameMode.data,valueControl);
		rcl_ret_t ret = rcl_publish(&publisher_framePos, &msg_framePos, NULL);
		rcl_ret_t ret2 = rcl_publish(&publisher_frameVel, &msg_frameVel, NULL);
		rcl_ret_t ret5 = rcl_publish(&publisher_framePosRef, &msg_framePosRef, NULL);
		rcl_ret_t ret6 = rcl_publish(&publisher_frameVelRef, &msg_frameVelRef, NULL);
		rcl_ret_t ret3 = rcl_publish(&publisher_frameSensor, &msg_frameSensor, NULL);
		rcl_ret_t ret4 = rcl_publish(&publisher_contador, &msg_contador, NULL);
		//rcl_ret_t ret4 = rcl_publish(&publisher_frameMode, &msg_frameMode, NULL);

		/*if (ret != RCL_RET_OK)
		{
			printf("Error publishing (line %d)\n", __LINE__);
		}*/
		//Para suscribirse
		rclc_executor_spin_some(&executor, 1* (1000 * 1000));

		//osDelay(10);
	}
	/* USER CODE END 5 */
}

void Error_Handler(void)
{
	__disable_irq();
	while (1)
	{
	}
}
